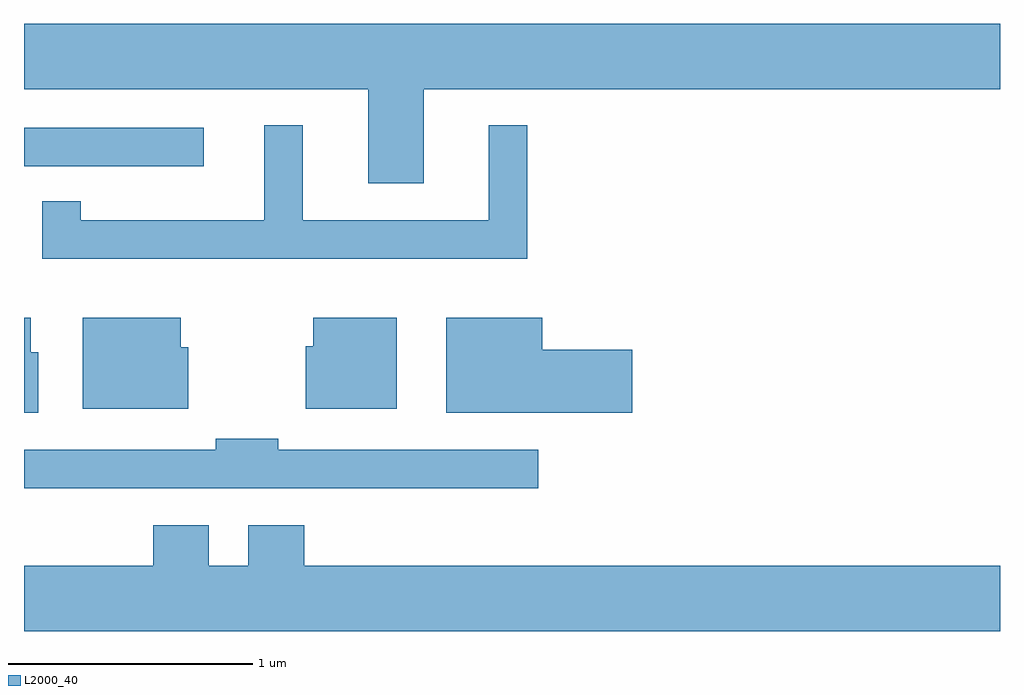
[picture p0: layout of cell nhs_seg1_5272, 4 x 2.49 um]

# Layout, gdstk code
import gdstk
lib = gdstk.Library(unit=1e-6, precision=1e-09)
def R(c, l, rs):  # rectangles x0, y0, x1, y1
    for r in rs: c.add(gdstk.rectangle(r[:2], r[2:], *l))
def P(c, l, *ps):  # polygons
    for p in ps: c.add(gdstk.Polygon(p, *l))
L2000_40 = (2000, 40)

nhs_seg1_5272 = lib.new_cell('nhs_seg1_5272')
R(nhs_seg1_5272, L2000_40, [(343.611,923.681,344.348,923.839)])
P(nhs_seg1_5272, L2000_40, [(345.249,923.996),(347.611,923.996),(347.611,924.264),(343.611,924.264),(343.611,923.996),(345.021,923.996),(345.021,923.611),(345.249,923.611)],
  [(345.674,923.848),(345.516,923.848),(345.516,923.459),(344.754,923.459),(344.754,923.848),(344.596,923.848),(344.596,923.459),(343.844,923.459),(343.844,923.538),(343.686,923.538),(343.686,923.301),(345.674,923.301)],
  [(345.139,923.059),(344.796,923.059),(344.796,922.944),(344.766,922.944),(344.766,922.686),(345.139,922.686)],
  [(346.104,922.929),(345.734,922.929),(345.734,923.059),(345.341,923.059),(345.341,922.671),(346.104,922.671)],
  [(344.284,922.939),(344.254,922.939),(344.254,923.059),(343.851,923.059),(343.851,922.686),(344.284,922.686)],
  [(343.669,922.919),(343.639,922.919),(343.639,923.059),(343.611,923.059),(343.611,922.671),(343.669,922.671)],
  [(345.718,922.519),(344.654,922.519),(344.654,922.564),(344.396,922.564),(344.396,922.519),(343.611,922.519),(343.611,922.361),(345.718,922.361)],
  [(347.611,922.044),(344.759,922.044),(344.759,922.209),(344.531,922.209),(344.531,922.044),(344.369,922.044),(344.369,922.209),(344.141,922.209),(344.141,922.044),(343.611,922.044),(343.611,921.776),(347.611,921.776)])

lib.write_gds('nhs_seg1_5272.gds')
